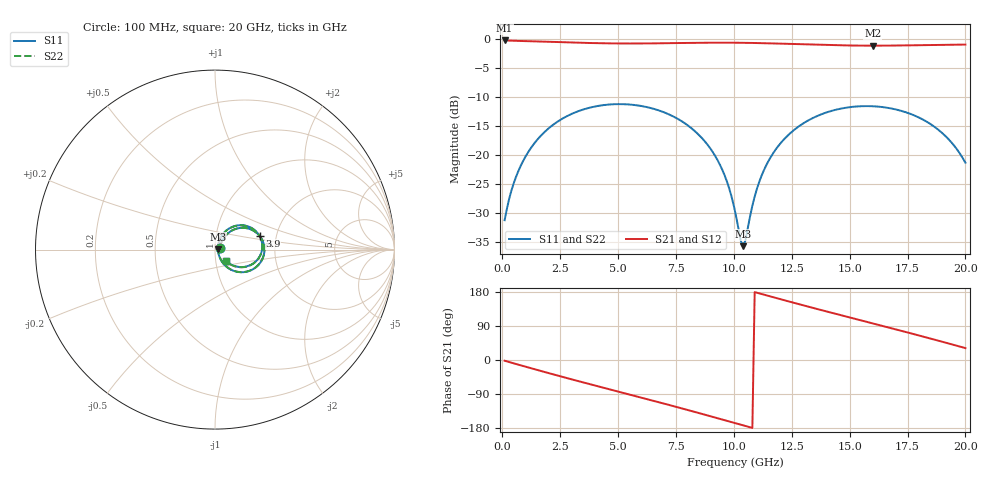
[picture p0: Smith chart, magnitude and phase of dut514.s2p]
! Touchstone file exported from HFSS 2026.1.0
!  File:  C:/ffzhzh/LocalFiles/Ansys_Project_Files/temp_train_TSV_RDL_514_1783109622_35180.aedt
!  Generated:  04:25:03 AM Jul  4, 2026
!  Design:  TSV_RDL
!  Project:  temp_train_TSV_RDL_514_1783109622_35180
! Variables:
!  h_bsmrdl = 4.54um
!  h_ox = 20um
!  h_rdl = 5um
!  h_sub = 68.45um
!  h_tmrdl = 3.47um
!  h_tsv = 68.45um
!  h_via = 3um
!  l_bsmrdl = 908.74um
!  l_sub = 5661.74um
!  l_tmrdl = 604.99um
!  m_sub = 200um
!  pitch = 30.2um
!  r_tsv = 9.99um
!  s_tmrdl = 10um
!  w_bsmrdl = 19.29um
!  w_sub = 500um
!  w_tmrdl = 19.23um
!  x_tsv_center1 = 614.605um
!  x_tsv_center2 = 1542.635um
!  x_tsv_center3 = 2166.855um
!  x_tsv_center4 = 3094.885um
!  x_tsv_center5 = 3719.105um
!  x_tsv_center6 = 4647.135um
# GHz S MA R 50.000000
! Terminal data exported
! Port[1] = TM_RDL1_1_T1
! Port[2] = TM_RDL5_1_T1
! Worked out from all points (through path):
!   200 points, 100 MHz to 20 GHz, reference 50 ohm
!   highest |S21| = -0.22 dB at 100 MHz (marker M1); lowest = -1.1 dB at 16 GHz (marker M2)
!   group delay of S21, straight-line fit = 45.5 ps
!   lowest |S11| = -35.7 dB at 10.4 GHz (marker M3), VSWR 1.03, Z = 51.7 + j0.0831 ohm
!   |S11| at or under -10 dB: start of sweep to end of sweep
!   |S22| runs from -35.2 to -11.2 dB; largest |S21 - S12| = 1.7e-14
!   S11 on the Smith chart (normalised r, x): 100 MHz: 1.05, +0.02; 3.9 GHz: 1.64, +0.27; 20 GHz: 1.12, -0.14
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0.1  0.02751 23.1  0.975 -1.9  0.975 -1.9  0.02751 23.1
! Gamma 0 0 0 0
! Port Impedance 50 0 50 0
0.6  0.0656 51.1  0.9673 -10.7  0.9673 -10.7  0.0656 51.1
1.3  0.1202 51.1  0.9593 -22.7  0.9593 -22.7  0.1202 51.1
2.3  0.1894 39.8  0.9458 -39.6  0.9458 -39.6  0.1894 39.8
3.5  0.2478 22.8  0.9299 -59.3  0.9299 -59.3  0.2478 22.8
3.9  0.2602 16.9  0.9257 -65.7  0.9257 -65.7  0.2602 17.0
5.4  0.2743 -5.3  0.9179 -89.6  0.9179 -89.6  0.2742 -5.2
6.8  0.2416 -26.1  0.9214 -112.1  0.9214 -112.1  0.2416 -26.0
8  0.1814 -43.6  0.9285 -131.8  0.9285 -131.8  0.1814 -43.4
9  0.1131 -56.5  0.9327 -148.6  0.9327 -148.6  0.1131 -56.1
9.6  0.06716 -60.4  0.9332 -158.7  0.9332 -158.7  0.06726 -59.8
10.1  0.0295 -48.9  0.9321 -167.2  0.9321 -167.2  0.02988 -47.5
10.4  0.01644 2.8  0.9306 -172.4  0.9306 -172.4  0.01728 3.1
11  0.05156 64.0  0.9263 177.5  0.9263 177.5  0.05194 63.1
11.5  0.08944 64.0  0.9212 169.0  0.9212 169.0  0.0897 63.4
12.3  0.1459 55.4  0.9114 155.7  0.9114 155.7  0.1461 55.0
13.4  0.2086 40.4  0.8972 137.8  0.8972 137.8  0.2087 40.1
14.7  0.2538 21.8  0.8842 117.0  0.8842 117.0  0.2539 21.6
16  0.2641 3.2  0.8794 96.6  0.8794 96.6  0.2642 3.0
16.7  0.2549 -6.7  0.8805 85.5  0.8805 85.5  0.255 -7.0
18.6  0.1795 -32.9  0.8915 54.8  0.8915 54.8  0.1794 -33.3
20  0.08613 -45.4  0.8984 31.4  0.8984 31.4  0.08579 -46.3
